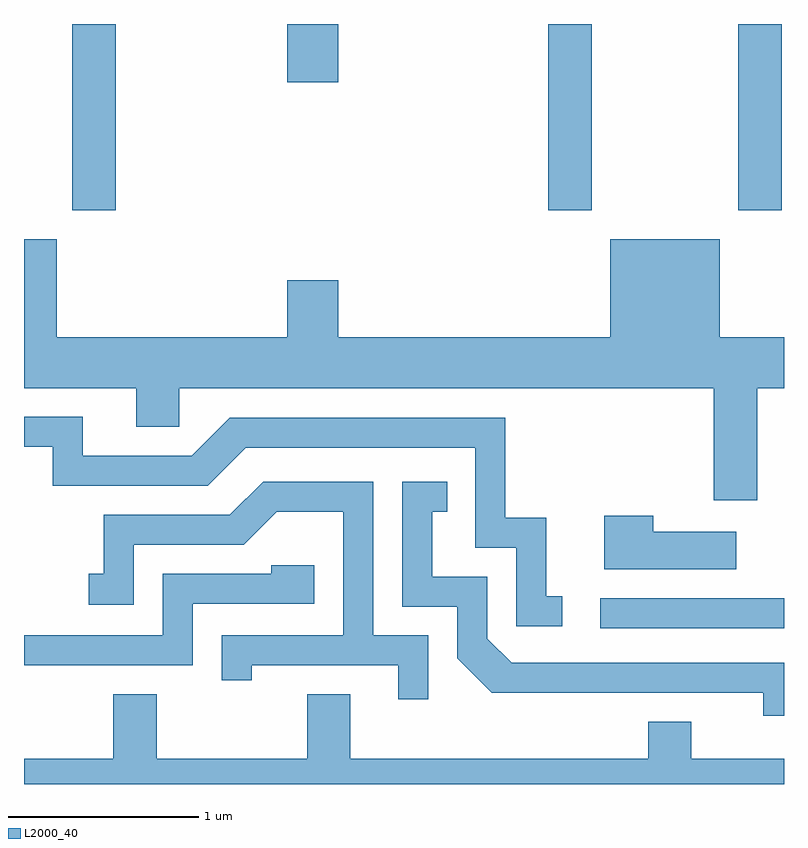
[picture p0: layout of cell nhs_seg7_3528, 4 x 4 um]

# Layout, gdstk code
import gdstk
lib = gdstk.Library(unit=1e-6, precision=1e-09)
def R(c, l, rs):  # rectangles x0, y0, x1, y1
    for r in rs: c.add(gdstk.rectangle(r[:2], r[2:], *l))
def P(c, l, *ps):  # polygons
    for p in ps: c.add(gdstk.Polygon(p, *l))
L2000_40 = (2000, 40)

nhs_seg7_3528 = lib.new_cell('nhs_seg7_3528')
R(nhs_seg7_3528, L2000_40, [(296.643,1693.071,297.611,1693.229), (293.866,1695.271,294.094,1696.252), (296.371,1695.271,296.599,1696.252), (297.371,1695.271,297.599,1696.252), (294.996,1695.946,295.264,1696.252)])
P(nhs_seg7_3528, L2000_40, [(297.469,1694.336),(297.611,1694.336),(297.611,1694.604),(297.274,1694.604),(297.274,1695.119),(296.696,1695.119),(296.696,1694.604),(295.264,1694.604),(295.264,1694.904),(294.996,1694.904),(294.996,1694.604),(293.784,1694.604),(293.784,1695.119),(293.611,1695.119),(293.611,1694.336),(294.201,1694.336),(294.201,1694.131),(294.429,1694.131),(294.429,1694.336),(297.241,1694.336),(297.241,1693.746),(297.469,1693.746)],
  [(296.443,1693.239),(296.359,1693.239),(296.359,1693.654),(296.144,1693.654),(296.144,1694.179),(294.694,1694.179),(294.494,1693.979),(293.919,1693.979),(293.919,1694.184),(293.611,1694.184),(293.611,1694.026),(293.761,1694.026),(293.761,1693.821),(294.577,1693.821),(294.777,1694.021),(295.986,1694.021),(295.986,1693.496),(296.201,1693.496),(296.201,1693.081),(296.443,1693.081)],
  [(297.611,1692.889),(296.177,1692.889),(296.049,1693.017),(296.049,1693.344),(295.759,1693.344),(295.759,1693.686),(295.838,1693.686),(295.838,1693.844),(295.601,1693.844),(295.601,1693.186),(295.891,1693.186),(295.891,1692.914),(296.074,1692.731),(297.501,1692.731),(297.501,1692.611),(297.611,1692.611)],
  [(295.739,1693.034),(295.449,1693.034),(295.449,1693.844),(294.869,1693.844),(294.694,1693.669),(294.031,1693.669),(294.031,1693.359),(293.953,1693.359),(293.953,1693.196),(294.189,1693.196),(294.189,1693.511),(294.767,1693.511),(294.942,1693.686),(295.291,1693.686),(295.291,1693.034),(294.651,1693.034),(294.651,1692.798),(294.809,1692.798),(294.809,1692.876),(295.581,1692.876),(295.581,1692.698),(295.739,1692.698)],
  [(297.359,1693.579),(296.924,1693.579),(296.924,1693.664),(296.666,1693.664),(296.666,1693.381),(297.359,1693.381)],
  [(294.499,1693.201),(295.139,1693.201),(295.139,1693.404),(294.911,1693.404),(294.911,1693.359),(294.341,1693.359),(294.341,1693.034),(293.611,1693.034),(293.611,1692.876),(294.499,1692.876)],
  [(297.611,1692.384),(297.124,1692.384),(297.124,1692.579),(296.896,1692.579),(296.896,1692.384),(295.329,1692.384),(295.329,1692.724),(295.101,1692.724),(295.101,1692.384),(294.309,1692.384),(294.309,1692.724),(294.081,1692.724),(294.081,1692.384),(293.611,1692.384),(293.611,1692.252),(297.611,1692.252)])

lib.write_gds('nhs_seg7_3528.gds')
